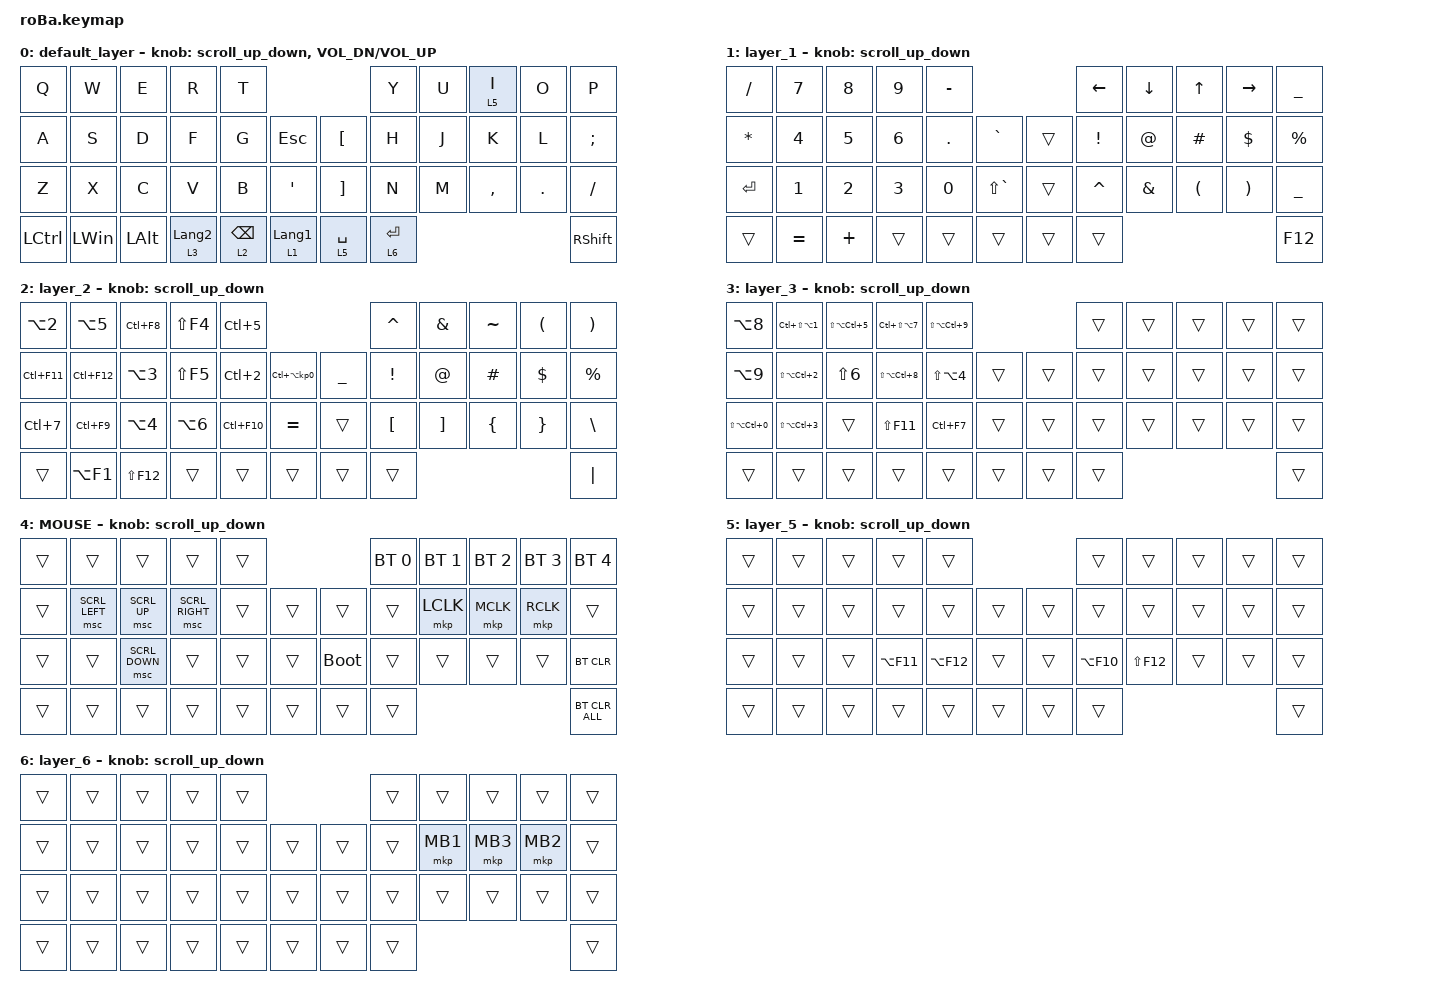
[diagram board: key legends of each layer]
#include <behaviors.dtsi>
#include <dt-bindings/zmk/bt.h>
#include <dt-bindings/zmk/keys.h>
#include <dt-bindings/zmk/pointing.h>

#define ZMK_POINTING_DEFAULT_SCRL_VAL 100
#define MOUSE 4

&mt {
    flavor = "balanced";
    quick-tap-ms = <0>;
};

/ {
    combos { compatible = "zmk,combos"; };

    macros {
        to_layer_0: to_layer_0 {
            compatible = "zmk,behavior-macro-one-param";
            #binding-cells = <1>;
            bindings = <&to 0 &macro_param_1to1 &kp MACRO_PLACEHOLDER>;
            label = "TO_LAYER_0";
        };
    };

    behaviors {
        lt_to_layer_0: lt_to_layer_0 {
            compatible = "zmk,behavior-hold-tap";
            label = "LAYER_TAP_TO_0";
            bindings = <&mo>, <&to_layer_0>;

            #binding-cells = <2>;
            tapping-term-ms = <200>;
        };

        scroll_up_down: behavior_sensor_rotate_mouse_wheel_up_down {
            compatible = "zmk,behavior-sensor-rotate";
            #sensor-binding-cells = <0>;
            bindings = <&msc SCRL_UP>, <&msc SCRL_DOWN>;

            tap-ms = <20>;
        };
    };

    keymap {
        compatible = "zmk,keymap";

        default_layer {
            bindings = <
&kp Q      &kp W         &kp E         &kp R             &kp T                                                     &kp Y        &kp U  &lt 5 I    &kp O    &kp P
&kp A      &kp S         &kp D         &kp F             &kp G            &kp ESC               &kp LEFT_BRACKET   &kp H        &kp J  &kp K      &kp L    &kp SEMICOLON
&kp Z      &kp X         &kp C         &kp V             &kp B            &kp APOS              &kp RIGHT_BRACKET  &kp N        &kp M  &kp COMMA  &kp DOT  &kp SLASH
&kp LCTRL  &kp LEFT_WIN  &kp LEFT_ALT  &lt 3 LANGUAGE_2  &lt 2 BACKSPACE  &lt 1 LANGUAGE_1      &lt 5 SPACE        &lt 6 ENTER                             &kp RIGHT_SHIFT
            >;

            sensor-bindings =
                <&scroll_up_down>,
                <&inc_dec_kp C_VOL_DN C_VOL_UP>;
        };

        layer_1 {
            bindings = <
&kp SLASH     &kp NUMBER_7  &kp NUMBER_8  &kp NUMBER_9  &kp MINUS                                &kp LEFT_ARROW   &kp DOWN       &kp UP_ARROW          &kp RIGHT              &kp UNDERSCORE
&kp ASTERISK  &kp NUMBER_4  &kp NUMBER_5  &kp NUMBER_6  &kp PERIOD    &kp GRAVE          &trans  &kp EXCLAMATION  &kp AT_SIGN    &kp HASH              &kp DOLLAR             &kp PERCENT
&kp ENTER     &kp NUMBER_1  &kp NUMBER_2  &kp NUMBER_3  &kp NUMBER_0  &kp LS(GRAVE)      &trans  &kp CARET        &kp AMPERSAND  &kp LEFT_PARENTHESIS  &kp RIGHT_PARENTHESIS  &kp UNDERSCORE
&trans        &kp EQUAL     &kp PLUS      &trans        &trans        &trans             &trans  &trans                                                                       &kp F12
            >;

            sensor-bindings = <&scroll_up_down>;
        };

        layer_2 {
            bindings = <
&kp LA(N2)   &kp LA(N5)   &kp LC(F8)   &kp LS(F4)  &kp LC(N5)                                                &kp CARET         &kp AMPERSAND      &kp TILDE       &kp LEFT_PARENTHESIS  &kp RIGHT_PARENTHESIS
&kp LC(F11)  &kp LC(F12)  &kp LA(N3)   &kp LS(F5)  &kp LC(N2)   &kp LC(LA(KP_NUMBER_0))      &kp UNDERSCORE  &kp EXCLAMATION   &kp AT_SIGN        &kp HASH        &kp DOLLAR            &kp PERCENT
&kp LC(N7)   &kp LC(F9)   &kp LA(N4)   &kp LA(N6)  &kp LC(F10)  &kp EQUAL                    &trans          &kp LEFT_BRACKET  &kp RIGHT_BRACKET  &kp LEFT_BRACE  &kp RIGHT_BRACE       &kp BACKSLASH
&trans       &kp LA(F1)   &kp LS(F12)  &trans      &trans       &trans                       &trans          &trans                                                                     &kp PIPE
            >;

            sensor-bindings = <&scroll_up_down>;
        };

        layer_3 {
            bindings = <
&kp LA(N8)          &kp LC(LS(LA(N1)))  &kp LS(LA(LC(N5)))  &kp LC(LS(LA(N7)))  &kp LS(LA(LC(N9)))                      &trans  &trans  &trans  &trans  &trans
&kp LA(N9)          &kp LS(LA(LC(N2)))  &kp LS(N6)          &kp LS(LA(LC(N8)))  &kp LS(LA(N4))      &trans      &trans  &trans  &trans  &trans  &trans  &trans
&kp LS(LA(LC(N0)))  &kp LS(LA(LC(N3)))  &trans              &kp LS(F11)         &kp LC(F7)          &trans      &trans  &trans  &trans  &trans  &trans  &trans
&trans              &trans              &trans              &trans              &trans              &trans      &trans  &trans                          &trans
            >;

            sensor-bindings = <&scroll_up_down>;
        };

        MOUSE {
            bindings = <
&trans  &trans          &trans          &trans           &trans                           &bt BT_SEL 0  &bt BT_SEL 1  &bt BT_SEL 2  &bt BT_SEL 3  &bt BT_SEL 4
&trans  &msc SCRL_LEFT  &msc SCRL_UP    &msc SCRL_RIGHT  &trans  &trans      &trans       &trans        &mkp LCLK     &mkp MCLK     &mkp RCLK     &trans
&trans  &trans          &msc SCRL_DOWN  &trans           &trans  &trans      &bootloader  &trans        &trans        &trans        &trans        &bt BT_CLR
&trans  &trans          &trans          &trans           &trans  &trans      &trans       &trans                                                  &bt BT_CLR_ALL
            >;

            sensor-bindings = <&scroll_up_down>;
        };

        layer_5 {
            bindings = <
&trans  &trans  &trans  &trans       &trans                           &trans       &trans       &trans  &trans  &trans
&trans  &trans  &trans  &trans       &trans       &trans      &trans  &trans       &trans       &trans  &trans  &trans
&trans  &trans  &trans  &kp LA(F11)  &kp LA(F12)  &trans      &trans  &kp LA(F10)  &kp LS(F12)  &trans  &trans  &trans
&trans  &trans  &trans  &trans       &trans       &trans      &trans  &trans                                    &trans
            >;

            sensor-bindings = <&scroll_up_down>;
        };

        layer_6 {
            bindings = <
&trans  &trans  &trans  &trans  &trans                      &trans  &trans    &trans    &trans    &trans
&trans  &trans  &trans  &trans  &trans  &trans      &trans  &trans  &mkp MB1  &mkp MB3  &mkp MB2  &trans
&trans  &trans  &trans  &trans  &trans  &trans      &trans  &trans  &trans    &trans    &trans    &trans
&trans  &trans  &trans  &trans  &trans  &trans      &trans  &trans                                &trans
            >;

            sensor-bindings = <&scroll_up_down>;
        };
    };
};
